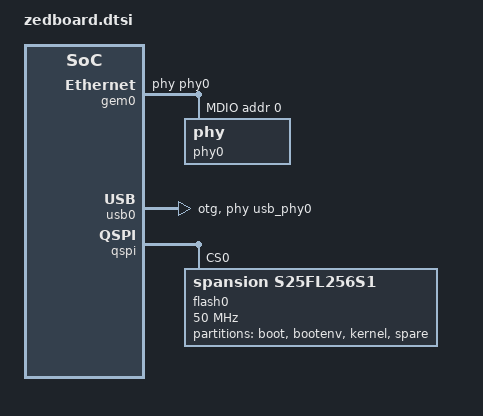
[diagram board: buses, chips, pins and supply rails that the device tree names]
&gem0 {
        phy-handle = <&phy0>;
        ps7_ethernet_0_mdio: mdio {
                #address-cells = <1>;
                #size-cells = <0>;
                phy0: phy@0 {
                        device_type = "ethernet-phy";
                        reg = <0>;
                } ;
        } ;
};

&usb0 {
        dr_mode = "otg";
        usb-phy = <&usb_phy0>;
} ;

/{
        usb_phy0: usb_phy@0 {
                compatible = "ulpi-phy";
                #phy-cells = <0>;
                reg = <0xe0002000 0x1000>;
                view-port = <0x0170>;
                drv-vbus;
        };
};

&qspi {
        #address-cells = <1>;
        #size-cells = <0>;
        flash0: flash@0 {
                compatible = "micron,m25p80";
                reg = <0x0>;
                #address-cells = <1>;
                #size-cells = <1>;
                spi-max-frequency = <50000000>;
                partition@0x00000000 {
                        label = "boot";
                        reg = <0x00000000 0x00500000>;
                };
                partition@0x00500000 {
                        label = "bootenv";
                        reg = <0x00500000 0x00020000>;
                };
                partition@0x00520000 {
                        label = "kernel";
                        reg = <0x00520000 0x00a80000>;
                };
                partition@0x00fa0000 {
                        label = "spare";
                        reg = <0x00fa0000 0x00000000>;
                };
        };
};
&flash0 {
        compatible = "spansion,s25fl256s1";
};
